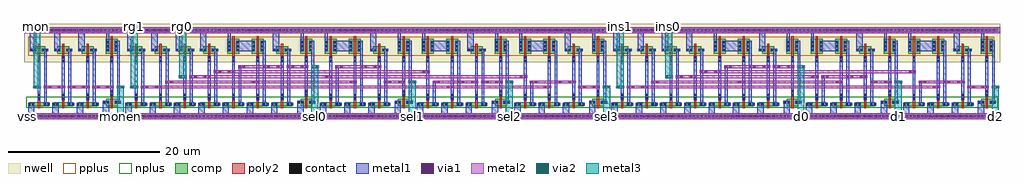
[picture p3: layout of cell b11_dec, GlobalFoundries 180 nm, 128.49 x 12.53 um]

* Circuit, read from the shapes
.subckt b11_dec d0 d1 d2 ins0 ins1 mon monen rg0 rg1 sel0 sel1 sel2 sel3 vdd vss
XM1 n1 mon vss vss nfet_03v3 w=0.5u l=0.28u
XM2 n2 n1 vss vss nfet_03v3 w=0.5u l=0.28u
XM3 n3 n2 vss vss nfet_03v3 w=0.5u l=0.28u
XM4 monen n3 vss vss nfet_03v3 w=1u l=0.28u
XM5 n4 rg1 vss vss nfet_03v3 w=0.5u l=0.28u
XM6 n5 n4 vss vss nfet_03v3 w=0.5u l=0.28u
XM7 n6 rg0 vss vss nfet_03v3 w=0.5u l=0.28u
XM8 n7 n6 vss vss nfet_03v3 w=0.5u l=0.28u
XM9 n8 n7 vss vss nfet_03v3 w=0.5u l=0.28u
XM10 n8 n5 vss vss nfet_03v3 w=0.5u l=0.28u
XM11 n9 n8 vss vss nfet_03v3 w=0.5u l=0.28u
XM12 sel0 n9 vss vss nfet_03v3 w=1u l=0.28u
XM13 n10 n6 vss vss nfet_03v3 w=0.5u l=0.28u
XM14 n10 n5 vss vss nfet_03v3 w=0.5u l=0.28u
XM15 n11 n10 vss vss nfet_03v3 w=0.5u l=0.28u
XM16 sel1 n11 vss vss nfet_03v3 w=1u l=0.28u
XM17 n12 n7 vss vss nfet_03v3 w=0.5u l=0.28u
XM18 n12 n4 vss vss nfet_03v3 w=0.5u l=0.28u
XM19 n13 n12 vss vss nfet_03v3 w=0.5u l=0.28u
XM20 sel2 n13 vss vss nfet_03v3 w=1u l=0.28u
XM21 n14 n6 vss vss nfet_03v3 w=0.5u l=0.28u
XM22 n14 n4 vss vss nfet_03v3 w=0.5u l=0.28u
XM23 n15 n14 vss vss nfet_03v3 w=0.5u l=0.28u
XM24 sel3 n15 vss vss nfet_03v3 w=1u l=0.28u
XM25 n16 ins1 vss vss nfet_03v3 w=0.5u l=0.28u
XM26 n17 n16 vss vss nfet_03v3 w=0.5u l=0.28u
XM27 n18 ins0 vss vss nfet_03v3 w=0.5u l=0.28u
XM28 n19 n18 vss vss nfet_03v3 w=0.5u l=0.28u
XM29 n20 n19 vss vss nfet_03v3 w=0.5u l=0.28u
XM30 n20 n17 vss vss nfet_03v3 w=0.5u l=0.28u
XM31 n21 n20 vss vss nfet_03v3 w=0.5u l=0.28u
XM32 d0 n21 vss vss nfet_03v3 w=1u l=0.28u
XM33 n22 n18 vss vss nfet_03v3 w=0.5u l=0.28u
XM34 n22 n17 vss vss nfet_03v3 w=0.5u l=0.28u
XM35 n23 n22 vss vss nfet_03v3 w=0.5u l=0.28u
XM36 d1 n23 vss vss nfet_03v3 w=1u l=0.28u
XM37 n24 n19 vss vss nfet_03v3 w=0.5u l=0.28u
XM38 n24 n16 vss vss nfet_03v3 w=0.5u l=0.28u
XM39 n25 n24 vss vss nfet_03v3 w=0.5u l=0.28u
XM40 d2 n25 vss vss nfet_03v3 w=1u l=0.28u
XM41 n1 mon vdd vdd pfet_03v3 w=1u l=0.28u
XM42 n2 n1 vdd vdd pfet_03v3 w=1u l=0.28u
XM43 n3 n2 vdd vdd pfet_03v3 w=1u l=0.28u
XM44 monen n3 vdd vdd pfet_03v3 w=2u l=0.28u
XM45 n4 rg1 vdd vdd pfet_03v3 w=1u l=0.28u
XM46 n5 n4 vdd vdd pfet_03v3 w=1u l=0.28u
XM47 n6 rg0 vdd vdd pfet_03v3 w=1u l=0.28u
XM48 n7 n6 vdd vdd pfet_03v3 w=1u l=0.28u
XM49 n26 n7 vdd vdd pfet_03v3 w=2u l=0.28u
XM50 n8 n5 n26 vdd pfet_03v3 w=2u l=0.28u
XM51 n9 n8 vdd vdd pfet_03v3 w=1u l=0.28u
XM52 sel0 n9 vdd vdd pfet_03v3 w=2u l=0.28u
XM53 n27 n6 vdd vdd pfet_03v3 w=2u l=0.28u
XM54 n10 n5 n27 vdd pfet_03v3 w=2u l=0.28u
XM55 n11 n10 vdd vdd pfet_03v3 w=1u l=0.28u
XM56 sel1 n11 vdd vdd pfet_03v3 w=2u l=0.28u
XM57 n28 n7 vdd vdd pfet_03v3 w=2u l=0.28u
XM58 n12 n4 n28 vdd pfet_03v3 w=2u l=0.28u
XM59 n13 n12 vdd vdd pfet_03v3 w=1u l=0.28u
XM60 sel2 n13 vdd vdd pfet_03v3 w=2u l=0.28u
XM61 n29 n6 vdd vdd pfet_03v3 w=2u l=0.28u
XM62 n14 n4 n29 vdd pfet_03v3 w=2u l=0.28u
XM63 n15 n14 vdd vdd pfet_03v3 w=1u l=0.28u
XM64 sel3 n15 vdd vdd pfet_03v3 w=2u l=0.28u
XM65 n16 ins1 vdd vdd pfet_03v3 w=1u l=0.28u
XM66 n17 n16 vdd vdd pfet_03v3 w=1u l=0.28u
XM67 n18 ins0 vdd vdd pfet_03v3 w=1u l=0.28u
XM68 n19 n18 vdd vdd pfet_03v3 w=1u l=0.28u
XM69 n30 n19 vdd vdd pfet_03v3 w=2u l=0.28u
XM70 n20 n17 n30 vdd pfet_03v3 w=2u l=0.28u
XM71 n21 n20 vdd vdd pfet_03v3 w=1u l=0.28u
XM72 d0 n21 vdd vdd pfet_03v3 w=2u l=0.28u
XM73 n31 n18 vdd vdd pfet_03v3 w=2u l=0.28u
XM74 n22 n17 n31 vdd pfet_03v3 w=2u l=0.28u
XM75 n23 n22 vdd vdd pfet_03v3 w=1u l=0.28u
XM76 d1 n23 vdd vdd pfet_03v3 w=2u l=0.28u
XM77 n32 n19 vdd vdd pfet_03v3 w=2u l=0.28u
XM78 n24 n16 n32 vdd pfet_03v3 w=2u l=0.28u
XM79 n25 n24 vdd vdd pfet_03v3 w=1u l=0.28u
XM80 d2 n25 vdd vdd pfet_03v3 w=2u l=0.28u
.ends

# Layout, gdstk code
import gdstk
lib = gdstk.Library(unit=1e-6, precision=1e-09)
def R(c, l, rs):  # rectangles x0, y0, x1, y1
    for r in rs: c.add(gdstk.rectangle(r[:2], r[2:], *l))
def A(c, l, x, y, w, h, nx, ny, dx, dy):  # array of equal rectangles
    R(c, l, [(x+i*dx, y+j*dy, x+i*dx+w, y+j*dy+h) for i in range(nx) for j in range(ny)])
def P(c, l, *ps):  # polygons
    for p in ps: c.add(gdstk.Polygon(p, *l))
nwell = (21, 0)
comp = (22, 0)
poly2 = (30, 0)
pplus = (31, 0)
nplus = (32, 0)
contact = (33, 0)
metal1 = (34, 0)
via1 = (35, 0)
metal2 = (36, 0)
via2 = (38, 0)
metal3 = (42, 0)

pfet_1_3 = lib.new_cell('pfet$1$3')
R(pfet_1_3, nwell, [(-1.07,-1.12,1.73,2.74)])
R(pfet_1_3, comp, [(-0.46,0,1.12,2)])
P(pfet_1_3, poly2, [(0.14,-0.68),(0.14,-0.3),(0.19,-0.3),(0.19,2.3),(0.47,2.3),(0.47,-0.3),(0.52,-0.3),(0.52,-0.68)])
R(pfet_1_3, pplus, [(-0.63,-0.24,1.29,2.24)])
A(pfet_1_3, contact, -0.34, 0.38, 0.22, 0.22, 1, 3, 0, 0.51)
A(pfet_1_3, contact, 0.78, 0.38, 0.22, 0.22, 1, 3, 0, 0.51)
R(pfet_1_3, contact, [(0.22,-0.6,0.44,-0.38)])
R(pfet_1_3, metal1, [(0.14,-0.68,0.52,-0.3), (-0.42,0.3,-0.04,1.7), (0.7,0.3,1.08,1.7)])

nfet_1_3 = lib.new_cell('nfet$1$3')
R(nfet_1_3, comp, [(-0.42,0,1.08,1)])
P(nfet_1_3, poly2, [(0.19,-0.3),(0.19,1.3),(0.15,1.3),(0.15,1.66),(0.51,1.66),(0.51,1.3),(0.47,1.3),(0.47,-0.3)])
R(nfet_1_3, nplus, [(-0.59,-0.24,1.25,1.24)])
R(nfet_1_3, contact, [(-0.32,0.39,-0.1,0.61), (0.76,0.39,0.98,0.61), (0.22,1.37,0.44,1.59)])
R(nfet_1_3, metal1, [(-0.4,0.31,-0.02,0.69), (0.68,0.31,1.06,0.69), (0.14,1.29,0.52,1.67)])

nfet_w1p0_l0p28_nf1_2co = lib.new_cell('nfet_W1p0_L0p28_nf1_2co')
R(nfet_w1p0_l0p28_nf1_2co, comp, [(-0.86,0.31,-0.32,0.69), (0.98,0.31,1.52,0.69)])
R(nfet_w1p0_l0p28_nf1_2co, nplus, [(-1.09,0.08,-0.32,0.92), (0.98,0.08,1.75,0.92)])
R(nfet_w1p0_l0p28_nf1_2co, contact, [(-0.79,0.39,-0.57,0.61), (1.23,0.39,1.45,0.61)])
R(nfet_w1p0_l0p28_nf1_2co, metal1, [(-0.85,0.31,-0.02,0.69), (0.68,0.31,1.51,0.69)])
nfet_w1p0_l0p28_nf1_2co.add(gdstk.Reference(nfet_1_3, (0,0)))

pfet_16 = lib.new_cell('pfet$16')
R(pfet_16, nwell, [(-1.07,-1.12,1.73,1.74)])
R(pfet_16, comp, [(-0.46,0,1.12,1)])
P(pfet_16, poly2, [(0.14,-0.68),(0.14,-0.3),(0.19,-0.3),(0.19,1.3),(0.47,1.3),(0.47,-0.3),(0.52,-0.3),(0.52,-0.68)])
R(pfet_16, pplus, [(-0.63,-0.24,1.29,1.24)])
R(pfet_16, contact, [(0.22,-0.6,0.44,-0.38), (-0.34,0.39,-0.12,0.61), (0.78,0.39,1,0.61)])
R(pfet_16, metal1, [(0.14,-0.68,0.52,-0.3), (-0.42,0.31,-0.04,0.69), (0.7,0.31,1.08,0.69)])

pfet_w1p0_l0p28_nf1_2co = lib.new_cell('pfet_W1p0_L0p28_nf1_2co')
R(pfet_w1p0_l0p28_nf1_2co, comp, [(-0.88,0.31,-0.34,0.69), (1,0.31,1.54,0.69)])
R(pfet_w1p0_l0p28_nf1_2co, pplus, [(-1.11,0.08,-0.34,0.92), (1,0.08,1.77,0.92)])
R(pfet_w1p0_l0p28_nf1_2co, contact, [(-0.81,0.39,-0.59,0.61), (1.25,0.39,1.47,0.61)])
R(pfet_w1p0_l0p28_nf1_2co, metal1, [(-0.87,0.31,-0.04,0.69), (0.7,0.31,1.53,0.69)])
pfet_w1p0_l0p28_nf1_2co.add(gdstk.Reference(pfet_16, (0,0)))

nfet_11 = lib.new_cell('nfet$11')
R(nfet_11, comp, [(-0.93,0,1.59,0.5)])
P(nfet_11, poly2, [(0.19,-0.3),(0.19,0.8),(0.15,0.8),(0.15,1.16),(0.51,1.16),(0.51,0.8),(0.47,0.8),(0.47,-0.3)])
R(nfet_11, nplus, [(-1.1,-0.24,1.76,0.74)])
R(nfet_11, contact, [(-0.575,0.14,-0.355,0.36), (1.015,0.14,1.235,0.36), (0.22,0.87,0.44,1.09)])
R(nfet_11, metal1, [(-0.655,0.06,-0.275,0.44), (0.935,0.06,1.315,0.44), (0.14,0.79,0.52,1.17)])

nfet_w0p5_l0p28_nf1_2co = lib.new_cell('nfet_W0p5_L0p28_nf1_2co')
R(nfet_w0p5_l0p28_nf1_2co, comp, [(-1.115,0.06,-0.575,0.44), (1.235,0.06,1.775,0.44)])
R(nfet_w0p5_l0p28_nf1_2co, nplus, [(-1.345,-0.17,-0.575,0.67), (1.235,-0.17,2.005,0.67)])
R(nfet_w0p5_l0p28_nf1_2co, contact, [(-1.045,0.14,-0.825,0.36), (1.485,0.14,1.705,0.36)])
R(nfet_w0p5_l0p28_nf1_2co, metal1, [(-1.105,0.06,-0.275,0.44), (0.935,0.06,1.765,0.44)])
nfet_w0p5_l0p28_nf1_2co.add(gdstk.Reference(nfet_11, (0,0)))

b11_dec = lib.new_cell('b11_dec')
R(b11_dec, nwell, [(0,7.48,128.495,12.53)])
R(b11_dec, comp, [(0.4,0.2,128.095,0.6), (0.4,11.5,128.095,11.9)])
A(b11_dec, poly2, 1.795, 2.5, 0.36, 0.83, 3, 1, 3.2, 0)
A(b11_dec, poly2, 14.595, 2.5, 0.36, 0.83, 7, 1, 3.2, 0)
A(b11_dec, poly2, 40.195, 2.5, 0.36, 0.83, 3, 1, 3.2, 0)
A(b11_dec, poly2, 52.995, 2.5, 0.36, 0.83, 3, 1, 3.2, 0)
A(b11_dec, poly2, 65.795, 2.5, 0.36, 0.83, 3, 1, 3.2, 0)
A(b11_dec, poly2, 78.595, 2.5, 0.36, 0.83, 7, 1, 3.2, 0)
A(b11_dec, poly2, 104.195, 2.5, 0.36, 0.83, 3, 1, 3.2, 0)
A(b11_dec, poly2, 116.995, 2.5, 0.36, 0.83, 3, 1, 3.2, 0)
A(b11_dec, poly2, 36.995, 3, 0.36, 0.83, 4, 1, 12.8, 0)
A(b11_dec, poly2, 100.995, 3, 0.36, 0.83, 3, 1, 12.8, 0)
A(b11_dec, poly2, 1.785, 7.46, 0.38, 0.83, 40, 1, 3.2, 0)
R(b11_dec, poly2, [(11.395,3,11.755,3.83)])
R(b11_dec, pplus, [(0.2,0,128.295,0.8), (0.535,8.36,127.735,10.84)])
R(b11_dec, nplus, [(0.3,1.46,128.195,2.94), (0.2,11.3,128.295,12.1)])
A(b11_dec, contact, 0.6, 0.29, 0.22, 0.22, 255, 2, 0.5, 11.3)
A(b11_dec, contact, 1.865, 3.04, 0.22, 0.22, 3, 1, 3.2, 0)
A(b11_dec, contact, 14.665, 3.04, 0.22, 0.22, 7, 1, 3.2, 0)
A(b11_dec, contact, 40.265, 3.04, 0.22, 0.22, 3, 1, 3.2, 0)
A(b11_dec, contact, 53.065, 3.04, 0.22, 0.22, 3, 1, 3.2, 0)
A(b11_dec, contact, 65.865, 3.04, 0.22, 0.22, 3, 1, 3.2, 0)
A(b11_dec, contact, 78.665, 3.04, 0.22, 0.22, 7, 1, 3.2, 0)
A(b11_dec, contact, 104.265, 3.04, 0.22, 0.22, 3, 1, 3.2, 0)
A(b11_dec, contact, 117.065, 3.04, 0.22, 0.22, 3, 1, 3.2, 0)
A(b11_dec, contact, 37.065, 3.54, 0.22, 0.22, 4, 1, 12.8, 0)
A(b11_dec, contact, 101.065, 3.54, 0.22, 0.22, 3, 1, 12.8, 0)
A(b11_dec, contact, 1.865, 7.53, 0.22, 0.22, 40, 1, 3.2, 0)
R(b11_dec, contact, [(11.465,3.54,11.685,3.76)])
A(b11_dec, metal1, 0.54, 0.75, 0.83, 1.39, 3, 1, 3.2, 0)
A(b11_dec, metal1, 13.34, 0.75, 0.83, 1.39, 7, 1, 3.2, 0)
A(b11_dec, metal1, 35.995, 0.75, 0.83, 1.64, 4, 1, 12.8, 0)
A(b11_dec, metal1, 38.94, 0.75, 0.83, 1.39, 3, 1, 3.2, 0)
A(b11_dec, metal1, 51.74, 0.75, 0.83, 1.39, 3, 1, 3.2, 0)
A(b11_dec, metal1, 64.54, 0.75, 0.83, 1.39, 3, 1, 3.2, 0)
A(b11_dec, metal1, 77.34, 0.75, 0.83, 1.39, 7, 1, 3.2, 0)
A(b11_dec, metal1, 99.995, 0.75, 0.83, 1.64, 3, 1, 12.8, 0)
A(b11_dec, metal1, 102.94, 0.75, 0.83, 1.39, 3, 1, 3.2, 0)
A(b11_dec, metal1, 115.74, 0.75, 0.83, 1.39, 3, 1, 3.2, 0)
A(b11_dec, metal1, 2.58, 1.76, 0.83, 0.38, 3, 1, 3.2, 0)
A(b11_dec, metal1, 2.645, 1.76, 0.38, 7.53, 3, 1, 3.2, 0)
A(b11_dec, metal1, 15.38, 1.76, 0.83, 0.38, 7, 1, 3.2, 0)
A(b11_dec, metal1, 15.445, 1.76, 0.38, 7.53, 4, 1, 3.2, 0)
A(b11_dec, metal1, 31.445, 1.76, 0.38, 8.54, 4, 1, 12.8, 0)
A(b11_dec, metal1, 34.645, 1.76, 0.38, 7.53, 4, 1, 12.8, 0)
A(b11_dec, metal1, 40.98, 1.76, 0.83, 0.38, 3, 1, 3.2, 0)
A(b11_dec, metal1, 53.78, 1.76, 0.83, 0.38, 3, 1, 3.2, 0)
A(b11_dec, metal1, 66.58, 1.76, 0.83, 0.38, 3, 1, 3.2, 0)
A(b11_dec, metal1, 79.38, 1.76, 0.83, 0.38, 7, 1, 3.2, 0)
A(b11_dec, metal1, 79.445, 1.76, 0.38, 7.53, 4, 1, 3.2, 0)
A(b11_dec, metal1, 95.445, 1.76, 0.38, 8.54, 3, 1, 12.8, 0)
A(b11_dec, metal1, 98.645, 1.76, 0.38, 7.53, 3, 1, 12.8, 0)
A(b11_dec, metal1, 104.98, 1.76, 0.83, 0.38, 3, 1, 3.2, 0)
A(b11_dec, metal1, 117.78, 1.76, 0.83, 0.38, 3, 1, 3.2, 0)
A(b11_dec, metal1, 37.525, 2.01, 0.83, 0.38, 4, 1, 12.8, 0)
A(b11_dec, metal1, 37.845, 2.01, 0.38, 8.29, 4, 1, 12.8, 0)
A(b11_dec, metal1, 101.525, 2.01, 0.83, 0.38, 3, 1, 12.8, 0)
A(b11_dec, metal1, 101.845, 2.01, 0.38, 8.29, 3, 1, 12.8, 0)
A(b11_dec, metal1, 1.785, 2.49, 0.38, 5.8, 3, 1, 3.2, 0)
A(b11_dec, metal1, 14.585, 2.49, 0.38, 5.8, 7, 1, 3.2, 0)
A(b11_dec, metal1, 40.185, 2.49, 0.38, 5.8, 3, 1, 3.2, 0)
A(b11_dec, metal1, 52.985, 2.49, 0.38, 5.8, 3, 1, 3.2, 0)
A(b11_dec, metal1, 65.785, 2.49, 0.38, 5.8, 3, 1, 3.2, 0)
A(b11_dec, metal1, 78.585, 2.49, 0.38, 5.8, 7, 1, 3.2, 0)
A(b11_dec, metal1, 104.185, 2.49, 0.38, 5.8, 3, 1, 3.2, 0)
A(b11_dec, metal1, 116.985, 2.49, 0.38, 5.8, 3, 1, 3.2, 0)
A(b11_dec, metal1, 1.785, 2.5, 0.38, 0.83, 3, 1, 3.2, 0)
A(b11_dec, metal1, 14.585, 2.5, 0.38, 0.83, 7, 1, 3.2, 0)
A(b11_dec, metal1, 40.185, 2.5, 0.38, 0.83, 3, 1, 3.2, 0)
A(b11_dec, metal1, 52.985, 2.5, 0.38, 0.83, 3, 1, 3.2, 0)
A(b11_dec, metal1, 65.785, 2.5, 0.38, 0.83, 3, 1, 3.2, 0)
A(b11_dec, metal1, 78.585, 2.5, 0.38, 0.83, 7, 1, 3.2, 0)
A(b11_dec, metal1, 104.185, 2.5, 0.38, 0.83, 3, 1, 3.2, 0)
A(b11_dec, metal1, 116.985, 2.5, 0.38, 0.83, 3, 1, 3.2, 0)
A(b11_dec, metal1, 36.985, 2.99, 0.38, 5.3, 4, 1, 12.8, 0)
A(b11_dec, metal1, 100.985, 2.99, 0.38, 5.3, 3, 1, 12.8, 0)
A(b11_dec, metal1, 36.985, 3, 0.38, 0.83, 4, 1, 12.8, 0)
A(b11_dec, metal1, 100.985, 3, 0.38, 0.83, 3, 1, 12.8, 0)
A(b11_dec, metal1, 50.645, 4.7, 0.91, 0.38, 3, 1, 3.2, 0)
A(b11_dec, metal1, 63.445, 4.7, 0.91, 0.38, 3, 1, 3.2, 0)
A(b11_dec, metal1, 114.645, 4.7, 0.91, 0.38, 3, 1, 3.2, 0)
A(b11_dec, metal1, 37.845, 6.68, 0.91, 0.38, 3, 1, 3.2, 0)
A(b11_dec, metal1, 1.785, 7.46, 0.38, 0.83, 40, 1, 3.2, 0)
A(b11_dec, metal1, 27.945, 8.9, 2.46, 1.4, 4, 1, 12.8, 0)
A(b11_dec, metal1, 31.145, 8.9, 0.68, 1.4, 8, 1, 6.4, 0)
A(b11_dec, metal1, 91.945, 8.9, 2.46, 1.4, 3, 1, 12.8, 0)
A(b11_dec, metal1, 95.145, 8.9, 0.68, 1.4, 6, 1, 6.4, 0)
A(b11_dec, metal1, 0.775, 8.91, 0.83, 2.44, 3, 1, 3.2, 0)
A(b11_dec, metal1, 2.345, 8.91, 0.83, 0.38, 3, 1, 3.2, 0)
A(b11_dec, metal1, 13.575, 8.91, 0.83, 2.44, 4, 1, 3.2, 0)
A(b11_dec, metal1, 15.145, 8.91, 0.83, 0.38, 4, 1, 3.2, 0)
A(b11_dec, metal1, 32.775, 8.91, 0.83, 2.44, 4, 1, 12.8, 0)
A(b11_dec, metal1, 34.345, 8.91, 0.83, 0.38, 4, 1, 12.8, 0)
A(b11_dec, metal1, 77.575, 8.91, 0.83, 2.44, 4, 1, 3.2, 0)
A(b11_dec, metal1, 79.145, 8.91, 0.83, 0.38, 4, 1, 3.2, 0)
A(b11_dec, metal1, 96.775, 8.91, 0.83, 2.44, 3, 1, 12.8, 0)
A(b11_dec, metal1, 98.345, 8.91, 0.83, 0.38, 3, 1, 12.8, 0)
R(b11_dec, metal1, [(0,0,128.495,0.8), (10.395,0.75,11.225,2.39), (28.245,1.76,28.625,7.06), (41.045,1.76,41.425,7.06), (53.845,1.76,54.225,5.08), (66.645,1.76,67.025,5.08), (92.245,1.76,92.625,7.06), (105.045,1.76,105.425,5.74), (117.845,1.76,118.225,5.08), (11.925,2.01,12.755,2.39), (12.245,2.01,12.625,10.3), (11.385,2.99,11.765,8.29), (11.385,3,11.765,3.83), (1.255,4.04,2.165,4.42), (2.645,4.04,3.555,4.42), (4.455,4.04,5.365,4.42), (5.845,4.04,6.755,4.42), (7.655,4.04,8.565,4.42), (9.045,4.04,9.955,4.42), (10.855,4.04,11.765,4.42), (12.245,4.04,13.155,4.42), (14.055,4.04,14.965,4.42), (15.445,4.04,16.355,4.42), (17.255,4.04,18.165,4.42), (55.655,4.04,56.565,4.42), (68.455,4.04,69.365,4.42), (73.045,4.04,73.955,4.42), (74.855,4.04,75.765,4.42), (76.245,4.04,77.155,4.42), (78.055,4.04,78.965,4.42), (79.445,4.04,80.355,4.42), (81.255,4.04,82.165,4.42), (119.655,4.04,120.565,4.42), (124.245,4.04,125.155,4.42), (126.055,4.04,126.965,4.42), (127.445,4.04,128.355,4.42), (18.645,4.7,19.555,5.08), (30.055,4.7,30.965,5.08), (42.855,4.7,43.765,5.08), (47.445,4.7,48.355,5.08), (49.255,4.7,50.165,5.08), (58.855,4.7,59.765,5.08), (60.245,4.7,61.155,5.08), (62.055,4.7,62.965,5.08), (71.655,4.7,72.565,5.08), (82.645,4.7,83.555,5.08), (94.055,4.7,94.965,5.08), (106.855,4.7,107.765,5.08), (111.445,4.7,112.355,5.08), (113.255,4.7,114.165,5.08), (122.855,4.7,123.765,5.08), (20.455,5.36,21.365,5.74), (21.845,5.36,22.755,5.74), (23.655,5.36,24.565,5.74), (39.655,5.36,40.565,5.74), (65.255,5.36,66.165,5.74), (84.455,5.36,85.365,5.74), (85.845,5.36,86.755,5.74), (87.655,5.36,88.565,5.74), (103.655,5.36,104.565,5.74), (105.045,5.36,105.955,5.74), (108.245,5.36,109.155,5.74), (110.055,5.36,110.965,5.74), (25.045,6.02,25.955,6.4), (26.855,6.02,27.765,6.4), (52.455,6.02,53.365,6.4), (89.045,6.02,89.955,6.4), (90.855,6.02,91.765,6.4), (116.455,6.02,117.365,6.4), (28.245,6.68,29.155,7.06), (31.445,6.68,32.355,7.06), (33.255,6.68,34.165,7.06), (34.645,6.68,35.555,7.06), (36.455,6.68,37.365,7.06), (46.055,6.68,46.965,7.06), (92.245,6.68,93.155,7.06), (95.445,6.68,96.355,7.06), (97.255,6.68,98.165,7.06), (98.645,6.68,99.555,7.06), (100.455,6.68,101.365,7.06), (101.845,6.68,102.755,7.06), (10.825,8.9,11.205,11.35), (11.945,8.9,12.625,10.3), (26.825,8.9,27.205,11.35), (36.425,8.9,36.805,11.35), (39.625,8.9,40.005,11.35), (49.225,8.9,49.605,11.35), (52.425,8.9,52.805,11.35), (62.025,8.9,62.405,11.35), (65.225,8.9,65.605,11.35), (74.825,8.9,75.205,11.35), (90.825,8.9,91.205,11.35), (100.425,8.9,100.805,11.35), (103.625,8.9,104.005,11.35), (113.225,8.9,113.605,11.35), (116.425,8.9,116.805,11.35), (126.025,8.9,126.405,11.35), (0,11.3,128.495,12.1)])
A(b11_dec, via1, 0.675, 0.27, 0.26, 0.26, 245, 2, 0.52, 11.3)
R(b11_dec, via1, [(1.32,4.1,1.58,4.36), (1.84,4.1,2.1,4.36), (2.71,4.1,2.97,4.36), (3.23,4.1,3.49,4.36), (4.52,4.1,4.78,4.36), (5.04,4.1,5.3,4.36), (5.91,4.1,6.17,4.36), (6.43,4.1,6.69,4.36), (7.72,4.1,7.98,4.36), (8.24,4.1,8.5,4.36), (9.11,4.1,9.37,4.36), (9.63,4.1,9.89,4.36), (10.92,4.1,11.18,4.36), (11.44,4.1,11.7,4.36), (12.31,4.1,12.57,4.36), (12.83,4.1,13.09,4.36), (14.12,4.1,14.38,4.36), (14.64,4.1,14.9,4.36), (15.51,4.1,15.77,4.36), (16.03,4.1,16.29,4.36), (17.32,4.1,17.58,4.36), (17.84,4.1,18.1,4.36), (55.72,4.1,55.98,4.36), (56.24,4.1,56.5,4.36), (68.52,4.1,68.78,4.36), (69.04,4.1,69.3,4.36), (73.11,4.1,73.37,4.36), (73.63,4.1,73.89,4.36), (74.92,4.1,75.18,4.36), (75.44,4.1,75.7,4.36), (76.31,4.1,76.57,4.36), (76.83,4.1,77.09,4.36), (78.12,4.1,78.38,4.36), (78.64,4.1,78.9,4.36), (79.51,4.1,79.77,4.36), (80.03,4.1,80.29,4.36), (81.32,4.1,81.58,4.36), (81.84,4.1,82.1,4.36), (119.72,4.1,119.98,4.36), (120.24,4.1,120.5,4.36), (124.31,4.1,124.57,4.36), (124.83,4.1,125.09,4.36), (126.12,4.1,126.38,4.36), (126.64,4.1,126.9,4.36), (127.51,4.1,127.77,4.36), (128.03,4.1,128.29,4.36), (18.71,4.76,18.97,5.02), (19.23,4.76,19.49,5.02), (30.12,4.76,30.38,5.02), (30.64,4.76,30.9,5.02), (42.92,4.76,43.18,5.02), (43.44,4.76,43.7,5.02), (47.51,4.76,47.77,5.02), (48.03,4.76,48.29,5.02), (49.32,4.76,49.58,5.02), (49.84,4.76,50.1,5.02), (50.71,4.76,50.97,5.02), (51.23,4.76,51.49,5.02), (53.91,4.76,54.17,5.02), (54.43,4.76,54.69,5.02), (57.11,4.76,57.37,5.02), (57.63,4.76,57.89,5.02), (58.92,4.76,59.18,5.02), (59.44,4.76,59.7,5.02), (60.31,4.76,60.57,5.02), (60.83,4.76,61.09,5.02), (62.12,4.76,62.38,5.02), (62.64,4.76,62.9,5.02), (63.51,4.76,63.77,5.02), (64.03,4.76,64.29,5.02), (66.71,4.76,66.97,5.02), (67.23,4.76,67.49,5.02), (69.91,4.76,70.17,5.02), (70.43,4.76,70.69,5.02), (71.72,4.76,71.98,5.02), (72.24,4.76,72.5,5.02), (82.71,4.76,82.97,5.02), (83.23,4.76,83.49,5.02), (94.12,4.76,94.38,5.02), (94.64,4.76,94.9,5.02), (106.92,4.76,107.18,5.02), (107.44,4.76,107.7,5.02), (111.51,4.76,111.77,5.02), (112.03,4.76,112.29,5.02), (113.32,4.76,113.58,5.02), (113.84,4.76,114.1,5.02), (114.71,4.76,114.97,5.02), (115.23,4.76,115.49,5.02), (117.91,4.76,118.17,5.02), (118.43,4.76,118.69,5.02), (121.11,4.76,121.37,5.02), (121.63,4.76,121.89,5.02), (122.92,4.76,123.18,5.02), (123.44,4.76,123.7,5.02), (20.52,5.42,20.78,5.68), (21.04,5.42,21.3,5.68), (21.91,5.42,22.17,5.68), (22.43,5.42,22.69,5.68), (23.72,5.42,23.98,5.68), (24.24,5.42,24.5,5.68), (39.72,5.42,39.98,5.68), (40.24,5.42,40.5,5.68), (65.32,5.42,65.58,5.68), (65.84,5.42,66.1,5.68), (84.52,5.42,84.78,5.68), (85.04,5.42,85.3,5.68), (85.91,5.42,86.17,5.68), (86.43,5.42,86.69,5.68), (87.72,5.42,87.98,5.68), (88.24,5.42,88.5,5.68), (103.72,5.42,103.98,5.68), (104.24,5.42,104.5,5.68), (105.11,5.42,105.37,5.68), (105.63,5.42,105.89,5.68), (108.31,5.42,108.57,5.68), (108.83,5.42,109.09,5.68), (110.12,5.42,110.38,5.68), (110.64,5.42,110.9,5.68), (25.11,6.08,25.37,6.34), (25.63,6.08,25.89,6.34), (26.92,6.08,27.18,6.34), (27.44,6.08,27.7,6.34), (52.52,6.08,52.78,6.34), (53.04,6.08,53.3,6.34), (89.11,6.08,89.37,6.34), (89.63,6.08,89.89,6.34), (90.92,6.08,91.18,6.34), (91.44,6.08,91.7,6.34), (116.52,6.08,116.78,6.34), (117.04,6.08,117.3,6.34), (28.31,6.74,28.57,7), (28.83,6.74,29.09,7), (31.51,6.74,31.77,7), (32.03,6.74,32.29,7), (33.32,6.74,33.58,7), (33.84,6.74,34.1,7), (34.71,6.74,34.97,7), (35.23,6.74,35.49,7), (36.52,6.74,36.78,7), (37.04,6.74,37.3,7), (37.91,6.74,38.17,7), (38.43,6.74,38.69,7), (41.11,6.74,41.37,7), (41.63,6.74,41.89,7), (44.31,6.74,44.57,7), (44.83,6.74,45.09,7), (46.12,6.74,46.38,7), (46.64,6.74,46.9,7), (92.31,6.74,92.57,7), (92.83,6.74,93.09,7), (95.51,6.74,95.77,7), (96.03,6.74,96.29,7), (97.32,6.74,97.58,7), (97.84,6.74,98.1,7), (98.71,6.74,98.97,7), (99.23,6.74,99.49,7), (100.52,6.74,100.78,7), (101.04,6.74,101.3,7), (101.91,6.74,102.17,7), (102.43,6.74,102.69,7)])
A(b11_dec, metal2, 2.585, 4.04, 2.84, 0.38, 3, 1, 3.2, 0)
R(b11_dec, metal2, [(0,0,128.495,0.8), (1.195,4.04,2.225,4.42), (12.185,4.04,13.215,4.42), (13.995,4.04,15.025,4.42), (15.385,4.04,69.425,4.42), (72.985,4.04,75.825,4.42), (76.185,4.04,77.215,4.42), (77.995,4.04,79.025,4.42), (79.385,4.04,120.625,4.42), (124.185,4.04,127.025,4.42), (127.385,4.04,128.415,4.42), (18.585,4.7,43.825,5.08), (47.385,4.7,50.225,5.08), (50.585,4.7,51.615,5.08), (53.785,4.7,59.825,5.08), (60.185,4.7,63.025,5.08), (63.385,4.7,64.415,5.08), (66.585,4.7,72.625,5.08), (82.585,4.7,107.825,5.08), (111.385,4.7,114.225,5.08), (114.585,4.7,115.615,5.08), (117.785,4.7,123.825,5.08), (20.395,5.36,21.425,5.74), (21.785,5.36,66.225,5.74), (84.395,5.36,85.425,5.74), (85.785,5.36,104.625,5.74), (104.985,5.36,111.025,5.74), (24.985,6.02,53.425,6.4), (88.985,6.02,117.425,6.4), (28.185,6.68,34.225,7.06), (34.585,6.68,37.425,7.06), (37.785,6.68,38.815,7.06), (40.985,6.68,47.025,7.06), (92.185,6.68,98.225,7.06), (98.585,6.68,101.425,7.06), (101.785,6.68,102.815,7.06), (0,11.3,128.495,12.1)])
R(b11_dec, via2, [(1.32,4.1,1.58,4.36), (1.84,4.1,2.1,4.36), (12.31,4.1,12.57,4.36), (12.83,4.1,13.09,4.36), (14.12,4.1,14.38,4.36), (14.64,4.1,14.9,4.36), (76.31,4.1,76.57,4.36), (76.83,4.1,77.09,4.36), (78.12,4.1,78.38,4.36), (78.64,4.1,78.9,4.36), (127.51,4.1,127.77,4.36), (128.03,4.1,128.29,4.36), (50.71,4.76,50.97,5.02), (51.23,4.76,51.49,5.02), (63.51,4.76,63.77,5.02), (64.03,4.76,64.29,5.02), (114.71,4.76,114.97,5.02), (115.23,4.76,115.49,5.02), (20.52,5.42,20.78,5.68), (21.04,5.42,21.3,5.68), (84.52,5.42,84.78,5.68), (85.04,5.42,85.3,5.68), (37.91,6.74,38.17,7), (38.43,6.74,38.69,7), (101.91,6.74,102.17,7), (102.43,6.74,102.69,7)])
A(b11_dec, metal3, 37.845, 0, 0.91, 0.6, 4, 1, 12.8, 0)
A(b11_dec, metal3, 101.845, 0, 0.91, 0.6, 3, 1, 12.8, 0)
R(b11_dec, metal3, [(12.245,0,13.155,4.42), (12.245,0,13.155,0.6), (37.845,0,38.755,7.06), (50.645,0,51.555,5.08), (63.445,0,64.355,5.08), (76.245,0,77.155,4.42), (101.845,0,102.755,7.06), (114.645,0,115.555,5.08), (127.445,0,128.355,4.42), (1.255,4.04,2.165,12.53), (14.055,4.04,14.965,12.53), (78.055,4.04,78.965,12.53), (20.455,5.36,21.365,12.53), (84.455,5.36,85.365,12.53), (1.255,11.93,2.165,12.53), (14.055,11.93,14.965,12.53), (20.455,11.93,21.365,12.53), (78.055,11.93,78.965,12.53), (84.455,11.93,85.365,12.53)])
b11_dec.add(gdstk.Reference(pfet_1_3, (11.245,8.6)))
b11_dec.add(gdstk.Reference(pfet_1_3, (27.245,8.6)))
b11_dec.add(gdstk.Reference(pfet_1_3, (30.445,8.6)))
b11_dec.add(gdstk.Reference(pfet_1_3, (36.845,8.6)))
b11_dec.add(gdstk.Reference(pfet_1_3, (40.045,8.6)))
b11_dec.add(gdstk.Reference(pfet_1_3, (43.245,8.6)))
b11_dec.add(gdstk.Reference(pfet_1_3, (49.645,8.6)))
b11_dec.add(gdstk.Reference(pfet_1_3, (52.845,8.6)))
b11_dec.add(gdstk.Reference(pfet_1_3, (56.045,8.6)))
b11_dec.add(gdstk.Reference(pfet_1_3, (62.445,8.6)))
b11_dec.add(gdstk.Reference(pfet_1_3, (65.645,8.6)))
b11_dec.add(gdstk.Reference(pfet_1_3, (68.845,8.6)))
b11_dec.add(gdstk.Reference(pfet_1_3, (75.245,8.6)))
b11_dec.add(gdstk.Reference(pfet_1_3, (91.245,8.6)))
b11_dec.add(gdstk.Reference(pfet_1_3, (94.445,8.6)))
b11_dec.add(gdstk.Reference(pfet_1_3, (100.845,8.6)))
b11_dec.add(gdstk.Reference(pfet_1_3, (104.045,8.6)))
b11_dec.add(gdstk.Reference(pfet_1_3, (107.245,8.6)))
b11_dec.add(gdstk.Reference(pfet_1_3, (113.645,8.6)))
b11_dec.add(gdstk.Reference(pfet_1_3, (116.845,8.6)))
b11_dec.add(gdstk.Reference(pfet_1_3, (120.045,8.6)))
b11_dec.add(gdstk.Reference(pfet_1_3, (126.445,8.6)))
b11_dec.add(gdstk.Reference(nfet_w1p0_l0p28_nf1_2co, (11.245,1.7)))
b11_dec.add(gdstk.Reference(nfet_w1p0_l0p28_nf1_2co, (36.845,1.7)))
b11_dec.add(gdstk.Reference(nfet_w1p0_l0p28_nf1_2co, (49.645,1.7)))
b11_dec.add(gdstk.Reference(nfet_w1p0_l0p28_nf1_2co, (62.445,1.7)))
b11_dec.add(gdstk.Reference(nfet_w1p0_l0p28_nf1_2co, (75.245,1.7)))
b11_dec.add(gdstk.Reference(nfet_w1p0_l0p28_nf1_2co, (100.845,1.7)))
b11_dec.add(gdstk.Reference(nfet_w1p0_l0p28_nf1_2co, (113.645,1.7)))
b11_dec.add(gdstk.Reference(nfet_w1p0_l0p28_nf1_2co, (126.445,1.7)))
b11_dec.add(gdstk.Reference(pfet_w1p0_l0p28_nf1_2co, (1.645,8.6)))
b11_dec.add(gdstk.Reference(pfet_w1p0_l0p28_nf1_2co, (4.845,8.6)))
b11_dec.add(gdstk.Reference(pfet_w1p0_l0p28_nf1_2co, (8.045,8.6)))
b11_dec.add(gdstk.Reference(pfet_w1p0_l0p28_nf1_2co, (14.445,8.6)))
b11_dec.add(gdstk.Reference(pfet_w1p0_l0p28_nf1_2co, (17.645,8.6)))
b11_dec.add(gdstk.Reference(pfet_w1p0_l0p28_nf1_2co, (20.845,8.6)))
b11_dec.add(gdstk.Reference(pfet_w1p0_l0p28_nf1_2co, (24.045,8.6)))
b11_dec.add(gdstk.Reference(pfet_w1p0_l0p28_nf1_2co, (33.645,8.6)))
b11_dec.add(gdstk.Reference(pfet_w1p0_l0p28_nf1_2co, (46.445,8.6)))
b11_dec.add(gdstk.Reference(pfet_w1p0_l0p28_nf1_2co, (59.245,8.6)))
b11_dec.add(gdstk.Reference(pfet_w1p0_l0p28_nf1_2co, (72.045,8.6)))
b11_dec.add(gdstk.Reference(pfet_w1p0_l0p28_nf1_2co, (78.445,8.6)))
b11_dec.add(gdstk.Reference(pfet_w1p0_l0p28_nf1_2co, (81.645,8.6)))
b11_dec.add(gdstk.Reference(pfet_w1p0_l0p28_nf1_2co, (84.845,8.6)))
b11_dec.add(gdstk.Reference(pfet_w1p0_l0p28_nf1_2co, (88.045,8.6)))
b11_dec.add(gdstk.Reference(pfet_w1p0_l0p28_nf1_2co, (97.645,8.6)))
b11_dec.add(gdstk.Reference(pfet_w1p0_l0p28_nf1_2co, (110.445,8.6)))
b11_dec.add(gdstk.Reference(pfet_w1p0_l0p28_nf1_2co, (123.245,8.6)))
b11_dec.add(gdstk.Reference(nfet_w0p5_l0p28_nf1_2co, (1.645,1.7)))
b11_dec.add(gdstk.Reference(nfet_w0p5_l0p28_nf1_2co, (4.845,1.7)))
b11_dec.add(gdstk.Reference(nfet_w0p5_l0p28_nf1_2co, (8.045,1.7)))
b11_dec.add(gdstk.Reference(nfet_w0p5_l0p28_nf1_2co, (14.445,1.7)))
b11_dec.add(gdstk.Reference(nfet_w0p5_l0p28_nf1_2co, (17.645,1.7)))
b11_dec.add(gdstk.Reference(nfet_w0p5_l0p28_nf1_2co, (20.845,1.7)))
b11_dec.add(gdstk.Reference(nfet_w0p5_l0p28_nf1_2co, (24.045,1.7)))
b11_dec.add(gdstk.Reference(nfet_w0p5_l0p28_nf1_2co, (27.245,1.7)))
b11_dec.add(gdstk.Reference(nfet_w0p5_l0p28_nf1_2co, (30.445,1.7)))
b11_dec.add(gdstk.Reference(nfet_w0p5_l0p28_nf1_2co, (33.645,1.7)))
b11_dec.add(gdstk.Reference(nfet_w0p5_l0p28_nf1_2co, (40.045,1.7)))
b11_dec.add(gdstk.Reference(nfet_w0p5_l0p28_nf1_2co, (43.245,1.7)))
b11_dec.add(gdstk.Reference(nfet_w0p5_l0p28_nf1_2co, (46.445,1.7)))
b11_dec.add(gdstk.Reference(nfet_w0p5_l0p28_nf1_2co, (52.845,1.7)))
b11_dec.add(gdstk.Reference(nfet_w0p5_l0p28_nf1_2co, (56.045,1.7)))
b11_dec.add(gdstk.Reference(nfet_w0p5_l0p28_nf1_2co, (59.245,1.7)))
b11_dec.add(gdstk.Reference(nfet_w0p5_l0p28_nf1_2co, (65.645,1.7)))
b11_dec.add(gdstk.Reference(nfet_w0p5_l0p28_nf1_2co, (68.845,1.7)))
b11_dec.add(gdstk.Reference(nfet_w0p5_l0p28_nf1_2co, (72.045,1.7)))
b11_dec.add(gdstk.Reference(nfet_w0p5_l0p28_nf1_2co, (78.445,1.7)))
b11_dec.add(gdstk.Reference(nfet_w0p5_l0p28_nf1_2co, (81.645,1.7)))
b11_dec.add(gdstk.Reference(nfet_w0p5_l0p28_nf1_2co, (84.845,1.7)))
b11_dec.add(gdstk.Reference(nfet_w0p5_l0p28_nf1_2co, (88.045,1.7)))
b11_dec.add(gdstk.Reference(nfet_w0p5_l0p28_nf1_2co, (91.245,1.7)))
b11_dec.add(gdstk.Reference(nfet_w0p5_l0p28_nf1_2co, (94.445,1.7)))
b11_dec.add(gdstk.Reference(nfet_w0p5_l0p28_nf1_2co, (97.645,1.7)))
b11_dec.add(gdstk.Reference(nfet_w0p5_l0p28_nf1_2co, (104.045,1.7)))
b11_dec.add(gdstk.Reference(nfet_w0p5_l0p28_nf1_2co, (107.245,1.7)))
b11_dec.add(gdstk.Reference(nfet_w0p5_l0p28_nf1_2co, (110.445,1.7)))
b11_dec.add(gdstk.Reference(nfet_w0p5_l0p28_nf1_2co, (116.845,1.7)))
b11_dec.add(gdstk.Reference(nfet_w0p5_l0p28_nf1_2co, (120.045,1.7)))
b11_dec.add(gdstk.Reference(nfet_w0p5_l0p28_nf1_2co, (123.245,1.7)))
b11_dec.add(gdstk.Label('sel0', (38.3,0.3), layer=42, texttype=10))
b11_dec.add(gdstk.Label('rg0', (20.91,12.23), layer=42, texttype=10))
b11_dec.add(gdstk.Label('d0', (102.3,0.3), layer=42, texttype=10))
b11_dec.add(gdstk.Label('sel1', (51.1,0.3), layer=42, texttype=10))
b11_dec.add(gdstk.Label('ins0', (84.91,12.23), layer=42, texttype=10))
b11_dec.add(gdstk.Label('sel2', (63.9,0.3), layer=42, texttype=10))
b11_dec.add(gdstk.Label('d2', (127.9,0.3), layer=42, texttype=10))
b11_dec.add(gdstk.Label('ins1', (78.51,12.23), layer=42, texttype=10))
b11_dec.add(gdstk.Label('sel3', (76.7,0.3), layer=42, texttype=10))
b11_dec.add(gdstk.Label('rg1', (14.51,12.23), layer=42, texttype=10))
b11_dec.add(gdstk.Label('d1', (115.1,0.3), layer=42, texttype=10))
b11_dec.add(gdstk.Label('monen', (12.7,0.3), layer=42, texttype=10))
b11_dec.add(gdstk.Label('mon', (1.71,12.23), layer=42, texttype=10))
b11_dec.add(gdstk.Label('vdd', (0.5,11.7), layer=36, texttype=10))
b11_dec.add(gdstk.Label('vss', (0.5,0.4), layer=36, texttype=10))

lib.write_gds('b11_dec.gds')
